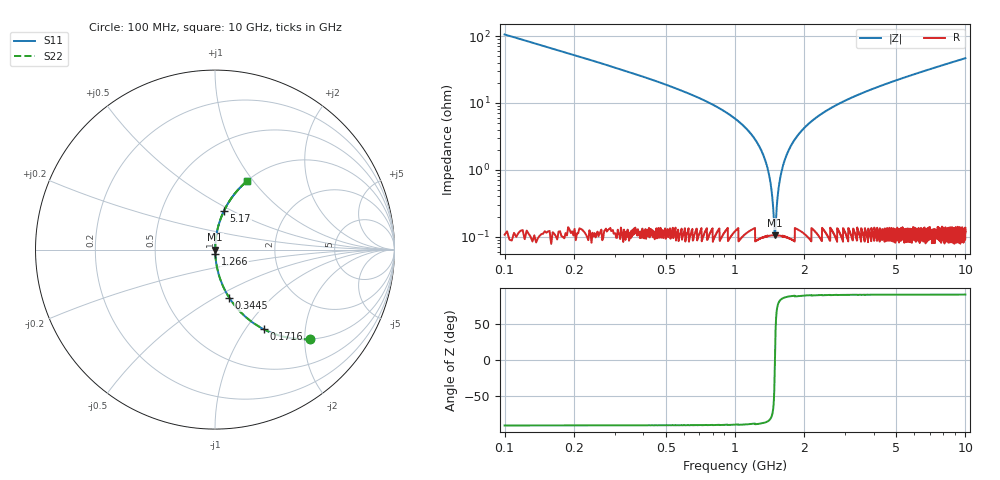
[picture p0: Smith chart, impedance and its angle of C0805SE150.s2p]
! AVX Thin Film Operation		Date: April 2012
! Description: Accu-P® Series, Thin Film, SMD, RF Capacitor
! Part Number: 08051K150FBTTR
!	100	MHz	-	10.05	GHz
!	Serial	Measurements
#	MHZ	S	MA	R	50
!	S11	S21	S12	S22
!	dB	Phase	dB	Phase	dB	Phase	dB	Phase
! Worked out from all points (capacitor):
!   4010 points, 100 MHz to 10 GHz, reference 50 ohm
!   read as one part in series: C = 15 pF near 149.4 MHz
!   lowest |Z| = 105 mohm at 1.49 GHz (marker M1)
!   series resonance near 1.49 GHz, so ESL is about 760 pH
!   S11 on the Smith chart (normalised r, x): 100 MHz: 1.00, -2.11; 171.6 MHz: 1.00, -1.22; 344.5 MHz: 1.00, -0.58; 1.266 GHz: 1.00, -0.05; 5.17 GHz: 1.00, +0.45; 10 GHz: 1.00, +0.93
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100  0.726 -43.4  0.687 46.5  0.687 46.5  0.726 -43.4
171.614  0.52 -58.5  0.853 31.4  0.853 31.4  0.52 -58.5
344.475  0.28 -73.5  0.959 16.2  0.959 16.2  0.28 -73.5
616.114  0.141 -81.4  0.989 8.1  0.989 8.1  0.141 -81.4
1030.98  0.054 -85.8  0.997 3.1  0.997 3.1  0.054 -85.8
1265.577  0.023 -86.0  0.999 1.3  0.999 1.3  0.023 -86.0
1376.702  0.011 -83.8  0.999 0.6  0.999 0.6  0.011 -83.8
1413.744  0.0076 -81.3  0.999 0.4  0.999 0.4  0.0076 -81.3
1458.194  0.0033 -70.4  0.999 0.2  0.999 0.2  0.0033 -70.4
1490.297  0.0011 -0.8  0.999 0.0  0.999 0.0  0.0011 -0.8
1522.4  0.00321 69.8  0.999 -0.2  0.999 -0.2  0.00321 69.8
1566.85  0.0072 80.8  0.999 -0.4  0.999 -0.4  0.0072 80.8
1608.83  0.011 83.6  0.999 -0.6  0.999 -0.6  0.011 83.6
1752.058  0.023 86.0  0.999 -1.3  0.999 -1.3  0.023 86.0
1971.838  0.04 86.1  0.998 -2.3  0.998 -2.3  0.04 86.1
2305.213  0.064 85.4  0.997 -3.7  0.997 -3.7  0.064 85.4
3401.646  0.13 82.0  0.99 -7.5  0.99 -7.5  0.13 82.0
5051.235  0.215 77.3  0.976 -12.4  0.976 -12.4  0.215 77.3
5169.768  0.221 77.0  0.974 -12.7  0.974 -12.7  0.221 77.0
6700.823  0.291 72.9  0.956 -16.9  0.956 -16.9  0.291 72.9
8350.412  0.36 68.7  0.932 -21.1  0.932 -21.1  0.36 68.7
10000  0.423 64.9  0.905 -25.0  0.905 -25.0  0.423 64.9
